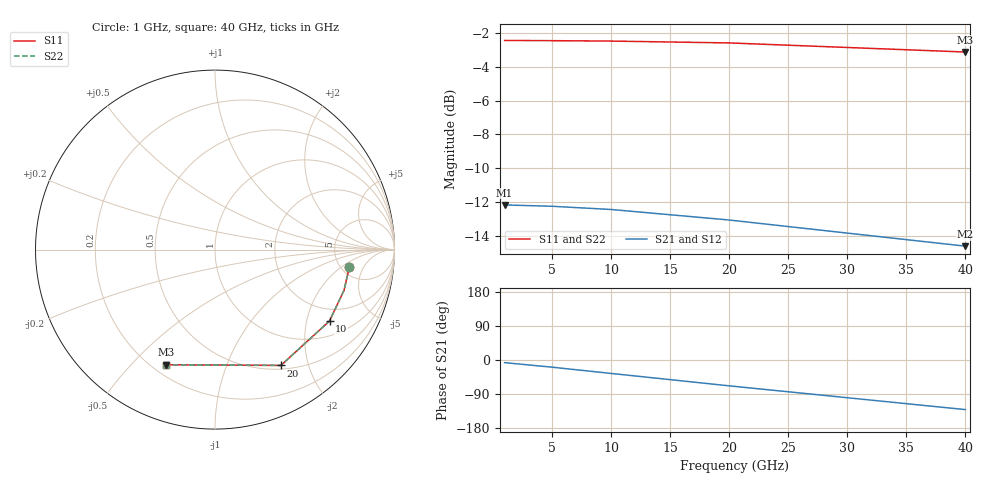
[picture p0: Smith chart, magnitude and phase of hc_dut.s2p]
! Generated by circuitRF - EM: Palace
! circuitRF-EM setup: hc_dut Palace
! circuitRF-EM layout: hc_dut.c3d
! circuitRF-EM written: 2026-11-04 16:31:49Z
! circuitRF-EM geometry: fe50c57a682fee4c
! circuitRF-EM mesh: be36879526fbbc1a
! circuitRF-EM ports: f82351fcd8e877fd
! circuitRF-EM model: Palace 0.18.1 (0dc74cd, schema 1-7-0)
! Port[1] = P1
! Port[2] = P2
! circuitRF-EM port 1: 'port/1' from 'airbox/zmin' to 'metal1', wave (mode 1), 50 Ohm: Palace's S is referred to the mode's own impedance Z_PV, renormalised here to 50 Ohm; reference plane 0 um into the structure from the port face
! circuitRF-EM port 2: 'port/2' from 'airbox/zmin' to 'metal2', wave (mode 1), 50 Ohm: Palace's S is referred to the mode's own impedance Z_PV, renormalised here to 50 Ohm; reference plane 0 um into the structure from the port face
! circuitRF-EM 3D mesh: 11,584 elements initially, 11,584 finally, 0 adaptive pass(es), element order 2
! circuitRF-EM 3D operating temperature: 20 C
! circuitRF-EM 3D run: preset Standard; 11584 -> 11584 tetrahedra; 81804 unknowns; 0 refinement pass(es); 5 frequency sample(s)
! circuitRF-EM 3D run cost: wall 58 s; Palace peak memory 1.7 GB
! circuitRF-EM 3D DC row: circuitRF conduction solve of the conductors, 4,386 elements, 0.47 s; ports as terminal pairs
! circuitRF-EM: re-running the EM setup rewrites this file. If circuitRF reports it as stale, the layout's cross-section changed after this file was written.
# GHz S RI R 50
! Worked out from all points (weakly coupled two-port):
!   5 points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, 1 GHz to 40 GHz, reference 50 ohm
!   highest |S21| = -12.18 dB at 1 GHz (marker M1); lowest = -14.6 dB at 40 GHz (marker M2)
!   lowest |S11| = -3.1 dB at 40 GHz (marker M3), VSWR 5.62, Z = 12.6 - j31.5 ohm
!   |S11| at or under -10 dB: nowhere
!   |S22| runs from -3.1 to -2.4 dB; largest |S21 - S12| = 2.4e-06
!   S11 on the Smith chart (normalised r, x): 1 GHz: 5.97, -2.64; 10 GHz: 1.50, -2.75; 20 GHz: 0.55, -1.58; 40 GHz: 0.25, -0.63
1  0.749 -0.0949  0.2442 -0.0297  0.2442 -0.0297  0.749 -0.0949
5  0.7193 -0.2258  0.2306 -0.079  0.2306 -0.079  0.7193 -0.2259
10  0.638 -0.3977  0.1944 -0.1382  0.1944 -0.1382  0.6379 -0.3979
20  0.3673 -0.6452  0.0826 -0.2061  0.0826 -0.2061  0.3669 -0.6454
40  -0.2739 -0.6417  -0.1216 -0.1404  -0.1216 -0.1404  -0.2749 -0.6415
